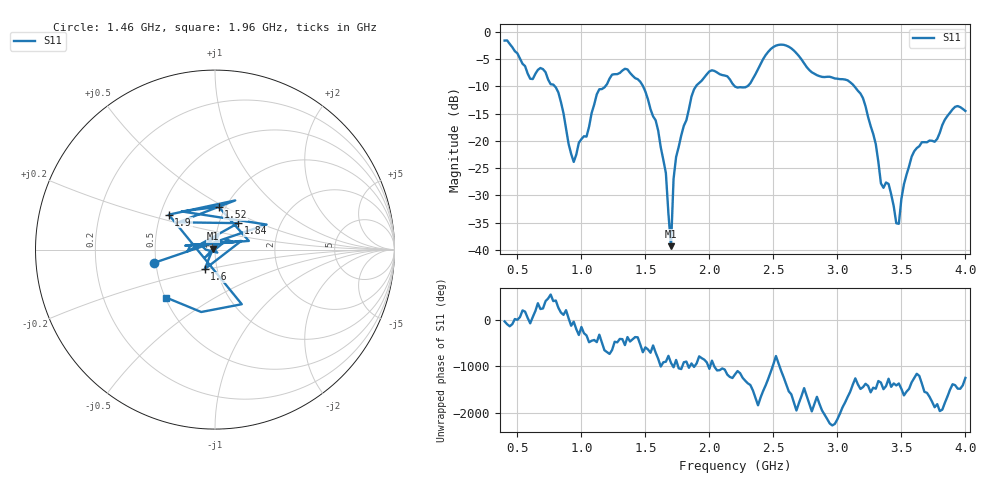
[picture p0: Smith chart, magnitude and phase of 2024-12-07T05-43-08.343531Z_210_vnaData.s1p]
!Created with skrf (http://scikit-rf.org).
# Hz S RI R 50.0
!freq ReS11 ImS11
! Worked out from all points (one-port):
!   181 points, 400 MHz to 4 GHz, reference 50 ohm
!   lowest |S11| = -39.3 dB at 1.7 GHz (marker M1), VSWR 1.02, Z = 49 + j0.44 ohm
!   |S11| at or under -10 dB: 792.1 MHz to 1.187 GHz (394.8 MHz wide, 39.9 % of centre); 1.482 GHz to 1.895 GHz (413.6 MHz wide, 24.5 % of centre); 3.132 GHz to end of sweep (the widest 3 of 4)
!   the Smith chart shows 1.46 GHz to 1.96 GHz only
!   S11 on the Smith chart (normalised r, x): 1.46 GHz: 0.49, -0.08; 1.52 GHz: 0.93, +0.47; 1.6 GHz: 0.87, -0.19; 1.84 GHz: 1.23, +0.38; 1.9 GHz: 0.55, +0.24; 1.96 GHz: 0.51, -0.32
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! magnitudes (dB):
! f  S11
! 400 MHz  -1.6
! 600 MHz  -8.6
! 720 MHz  -7.4
! 860 MHz  -14.9
! 940 MHz  -23.9
! 1.14 GHz  -10.5
! 1.3 GHz  -7.6
! 1.46 GHz  -9.2
! 1.52 GHz  -12.4
! 1.6 GHz  -18.1
! 1.66 GHz  -25.9
! 1.7 GHz  -39.3
! 1.72 GHz  -27.0
! 1.76 GHz  -21.1
! 1.84 GHz  -14.2
! 1.9 GHz  -9.8
! 1.96 GHz  -8.4
! 2.2 GHz  -10.1
! 2.5 GHz  -2.8
! 2.66 GHz  -3.5
! 3.1 GHz  -9.3
! 3.2 GHz  -12.2
! 3.3 GHz  -20.6
! 3.34 GHz  -27.8
! 3.4 GHz  -27.9
! 3.46 GHz  -35.1
! 3.56 GHz  -24.7
! 4 GHz  -14.5
